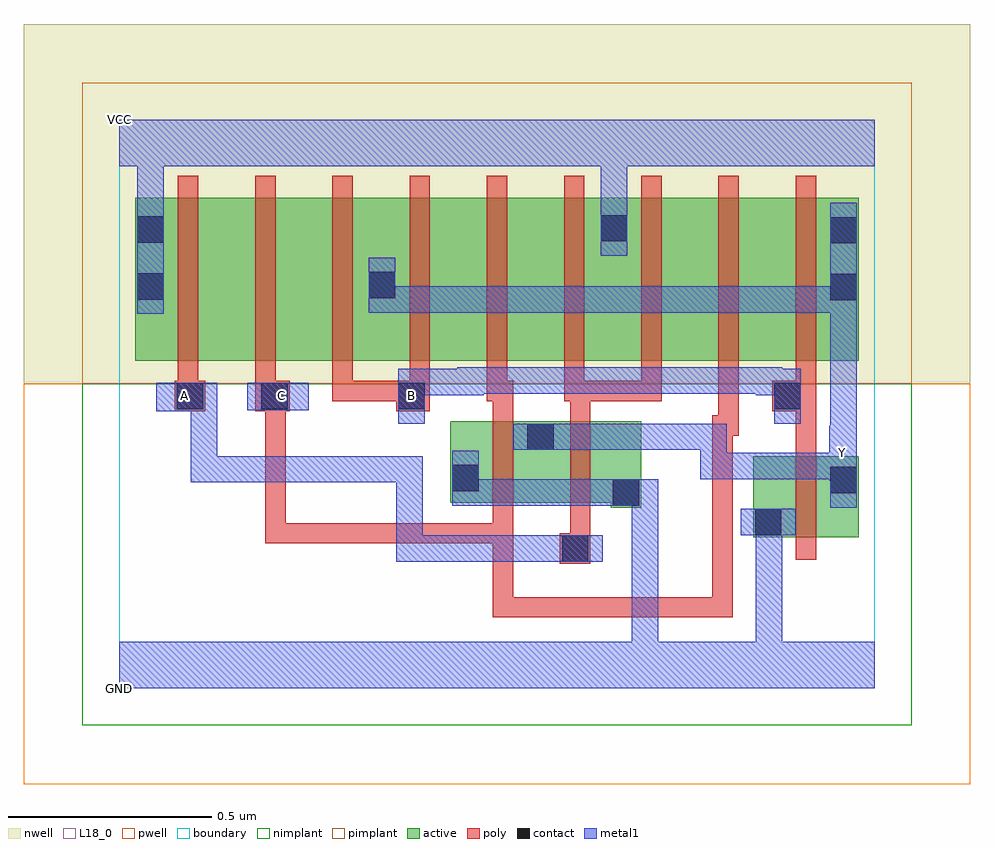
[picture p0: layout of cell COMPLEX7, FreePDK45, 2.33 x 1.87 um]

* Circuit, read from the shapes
.subckt COMPLEX7 A B C GND VCC Y
M1 Y C GND VSUBS nfet w=0.2u l=0.05u
M2 GND A Y VSUBS nfet w=0.2u l=0.05u
M3 Y B GND VSUBS nfet w=0.2u l=0.05u
M4 n1 A VCC n2 pfet w=0.4u l=0.05u
M5 n3 C n1 n2 pfet w=0.4u l=0.05u
M6 Y B n3 n2 pfet w=0.4u l=0.05u
M7 n4 B Y n2 pfet w=0.4u l=0.05u
M8 n5 C n4 n2 pfet w=0.4u l=0.05u
M9 VCC A n5 n2 pfet w=0.4u l=0.05u
M10 n6 A VCC n2 pfet w=0.4u l=0.05u
M11 n7 C n6 n2 pfet w=0.4u l=0.05u
M12 Y B n7 n2 pfet w=0.4u l=0.05u
.ends

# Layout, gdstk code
import gdstk
lib = gdstk.Library(unit=1e-6, precision=1e-09)
def R(c, l, rs):  # rectangles x0, y0, x1, y1
    for r in rs: c.add(gdstk.rectangle(r[:2], r[2:], *l))
def A(c, l, x, y, w, h, nx, ny, dx, dy):  # array of equal rectangles
    R(c, l, [(x+i*dx, y+j*dy, x+i*dx+w, y+j*dy+h) for i in range(nx) for j in range(ny)])
active = (1, 0)
pwell = (2, 0)
nwell = (3, 0)
nimplant = (4, 0)
pimplant = (5, 0)
poly = (9, 0)
contact = (10, 0)
metal1 = (11, 0)
L18_0 = (18, 0)
boundary = (235, 0)

complex7 = lib.new_cell('COMPLEX7')
A(complex7, active, 0.04, 0.807, 0.225, 0.4, 3, 1, 0.57, 0)
A(complex7, active, 0.265, 0.807, 0.19, 0.4, 3, 1, 0.57, 0)
R(complex7, active, [(1.56,0.372,1.635,0.572), (1.56,0.372,1.82,0.572), (1.745,0.372,1.82,0.572), (1.21,0.445,1.285,0.657), (0.815,0.457,0.89,0.657), (0.815,0.457,1.075,0.657), (1,0.457,1.285,0.657), (1,0.495,1.075,0.657), (0.04,0.807,0.115,1.207), (0.455,0.807,0.685,1.207), (0.61,0.807,0.685,1.2), (1.025,0.807,1.255,1.207), (1.595,0.807,1.82,1.207), (1.745,0.807,1.82,1.2), (1.18,0.85,1.255,1.207)])
R(complex7, pwell, [(-0.235,-0.235,2.095,0.75)])
R(complex7, nwell, [(-0.235,0.75,2.095,1.635)])
R(complex7, nimplant, [(-0.09,-0.09,1.95,0.75)])
R(complex7, pimplant, [(-0.09,0.75,1.95,1.49)])
A(complex7, poly, 0.145, 0.707, 0.05, 0.095, 7, 1, 0.19, 0)
A(complex7, poly, 0.145, 0.752, 0.05, 0.51, 9, 1, 0.19, 0)
R(complex7, poly, [(0.92,0.175,0.97,0.225), (0.92,0.175,1,0.225), (0.92,0.175,0.97,0.407), (0.95,0.175,1,0.225), (0.95,0.175,1.202,0.225), (1.152,0.175,1.202,0.225), (1.152,0.175,1.202,0.225), (1.152,0.175,1.202,0.225), (1.152,0.175,1.335,0.225), (1.285,0.175,1.335,0.225), (1.285,0.175,1.51,0.225), (1.46,0.175,1.51,0.225), (1.46,0.175,1.51,0.672), (1.085,0.307,1.16,0.382), (1.665,0.317,1.715,0.627), (1.11,0.332,1.16,0.452), (0.36,0.357,0.41,0.407), (0.36,0.357,0.542,0.407), (0.36,0.357,0.41,0.732), (0.492,0.357,0.542,0.407), (0.492,0.357,0.542,0.407), (0.492,0.357,0.542,0.407), (0.492,0.357,0.735,0.407), (0.685,0.357,0.735,0.407), (0.685,0.357,0.735,0.407), (0.685,0.357,0.735,0.407), (0.685,0.357,0.735,0.407), (0.685,0.357,0.735,0.407), (0.685,0.357,0.867,0.407), (0.817,0.357,0.867,0.407), (0.817,0.357,0.97,0.407), (0.92,0.357,0.97,0.452), (0.92,0.357,0.97,0.407), (0.92,0.402,0.97,0.712), (1.11,0.402,1.16,0.712), (1.665,0.577,1.715,0.732), (1.46,0.622,1.51,0.672), (1.46,0.622,1.51,0.672), (1.46,0.622,1.51,0.672), (1.46,0.622,1.51,0.672), (1.46,0.622,1.51,0.672), (1.46,0.622,1.51,0.672), (1.46,0.622,1.51,0.672), (1.46,0.622,1.51,0.672), (1.46,0.622,1.525,0.672), (1.475,0.622,1.525,0.802), (0.92,0.662,0.97,0.757), (1.11,0.662,1.16,0.757), (0.137,0.682,0.212,0.757), (0.335,0.682,0.42,0.757), (0.36,0.682,0.41,0.732), (0.36,0.682,0.41,0.732), (0.682,0.682,0.765,0.757), (1.607,0.682,1.715,0.757), (0.525,0.707,0.575,0.757), (0.525,0.707,0.722,0.757), (0.672,0.707,0.722,0.757), (0.672,0.707,0.732,0.757), (0.905,0.707,0.97,0.757), (1.095,0.707,1.16,0.757), (1.11,0.707,1.335,0.757), (1.285,0.707,1.335,0.757), (1.285,0.707,1.335,0.757), (1.285,0.707,1.335,0.757), (1.665,0.707,1.715,0.802)])
R(complex7, contact, [(1.09,0.312,1.155,0.377), (1.565,0.377,1.63,0.442), (1.215,0.45,1.28,0.515), (1.75,0.48,1.815,0.545), (0.82,0.485,0.885,0.55), (1.005,0.587,1.07,0.652), (0.142,0.687,0.207,0.752), (0.35,0.687,0.415,0.752), (0.687,0.687,0.752,0.752), (1.612,0.687,1.677,0.752), (1.75,0.955,1.815,1.02), (0.045,0.957,0.11,1.022), (0.615,0.96,0.68,1.025), (1.75,1.095,1.815,1.16), (0.045,1.097,0.11,1.162), (1.185,1.1,1.25,1.165)])
R(complex7, metal1, [(0,0,1.86,0.115), (1.262,0.05,1.327,0.445), (1.567,0.05,1.632,0.115), (1.567,0.05,1.632,0.115), (1.567,0.05,1.632,0.115), (1.567,0.05,1.632,0.115), (1.567,0.05,1.632,0.115), (1.567,0.05,1.632,0.115), (1.567,0.05,1.632,0.442), (0.682,0.312,0.747,0.377), (0.682,0.312,0.747,0.377), (0.682,0.312,0.747,0.377), (0.682,0.312,0.897,0.377), (0.682,0.312,0.747,0.572), (0.832,0.312,0.897,0.377), (0.832,0.312,0.982,0.377), (0.917,0.312,0.982,0.377), (0.917,0.312,1.037,0.377), (0.972,0.312,1.037,0.377), (0.972,0.312,1.12,0.377), (1.055,0.312,1.19,0.377), (1.53,0.377,1.665,0.442), (1.262,0.38,1.327,0.445), (1.262,0.38,1.327,0.445), (1.262,0.38,1.327,0.445), (1.262,0.38,1.327,0.445), (1.262,0.38,1.327,0.445), (1.262,0.38,1.327,0.515), (1.75,0.445,1.815,0.58), (0.82,0.45,0.885,0.585), (0.82,0.45,0.98,0.515), (0.915,0.45,0.98,0.515), (0.915,0.45,1.035,0.515), (0.97,0.45,1.035,0.515), (0.97,0.45,1.12,0.515), (1.055,0.45,1.12,0.515), (1.055,0.45,1.245,0.515), (1.18,0.45,1.327,0.515), (0.177,0.507,0.242,0.572), (0.177,0.507,0.38,0.572), (0.177,0.507,0.242,0.747), (0.315,0.507,0.38,0.572), (0.315,0.507,0.38,0.572), (0.315,0.507,0.38,0.572), (0.315,0.507,0.517,0.572), (0.452,0.507,0.517,0.572), (0.452,0.507,0.747,0.572), (0.682,0.507,0.747,0.572), (0.682,0.507,0.747,0.572), (0.682,0.507,0.747,0.572), (1.747,0.512,1.815,0.647), (1.43,0.515,1.675,0.58), (1.43,0.515,1.495,0.652), (1.61,0.515,1.675,0.58), (1.61,0.515,1.815,0.58), (1.75,0.515,1.815,0.58), (1.75,0.515,1.815,0.58), (1.75,0.515,1.815,0.58), (1.75,0.582,1.815,0.985), (0.97,0.587,1.105,0.652), (1.04,0.587,1.195,0.652), (1.13,0.587,1.195,0.652), (1.13,0.587,1.242,0.652), (1.177,0.587,1.242,0.652), (1.177,0.587,1.357,0.652), (1.292,0.587,1.357,0.652), (1.292,0.587,1.38,0.652), (1.315,0.587,1.38,0.652), (1.315,0.587,1.495,0.652), (0.687,0.652,0.752,0.787), (1.612,0.652,1.677,0.787), (0.092,0.682,0.242,0.752), (0.177,0.682,0.242,0.747), (0.177,0.682,0.242,0.747), (0.315,0.685,0.467,0.752), (0.687,0.722,0.897,0.787), (0.832,0.722,0.897,0.79), (1.567,0.722,1.677,0.787), (1.567,0.722,1.632,0.79), (0.832,0.725,0.982,0.79), (0.917,0.725,0.982,0.79), (0.917,0.725,1.035,0.79), (0.97,0.725,1.035,0.79), (0.97,0.725,1.12,0.79), (1.055,0.725,1.12,0.79), (1.055,0.725,1.242,0.79), (1.177,0.725,1.242,0.79), (1.177,0.725,1.357,0.79), (1.292,0.725,1.357,0.79), (1.292,0.725,1.38,0.79), (1.315,0.725,1.38,0.79), (1.315,0.725,1.495,0.79), (1.43,0.725,1.495,0.79), (1.43,0.725,1.632,0.79), (1.75,0.92,1.815,1.195), (0.045,0.922,0.11,1.197), (0.615,0.925,0.68,0.99), (0.615,0.925,0.68,0.99), (0.615,0.925,0.68,1.06), (0.615,0.925,0.885,0.99), (0.82,0.925,0.885,0.99), (0.82,0.925,0.972,0.99), (0.907,0.925,0.972,0.99), (0.907,0.925,1.035,0.99), (0.97,0.925,1.035,0.99), (0.97,0.925,1.12,0.99), (1.055,0.925,1.12,0.99), (1.055,0.925,1.242,0.99), (1.177,0.925,1.242,0.99), (1.177,0.925,1.332,0.99), (1.267,0.925,1.332,0.99), (1.267,0.925,1.38,0.99), (1.315,0.925,1.38,0.99), (1.315,0.925,1.495,0.99), (1.43,0.925,1.495,0.99), (1.43,0.925,1.627,0.99), (1.562,0.925,1.627,0.99), (1.562,0.925,1.815,0.99), (1.75,0.925,1.815,0.99), (1.75,0.925,1.815,0.99), (1.185,1.065,1.25,1.2), (0.045,1.132,0.11,1.35), (1.185,1.135,1.25,1.35), (0,1.285,1.86,1.4)])
R(complex7, L18_0, [(0,0,1.86,0.115), (1.262,0.05,1.327,0.445), (1.567,0.05,1.632,0.115), (1.567,0.05,1.632,0.115), (1.567,0.05,1.632,0.115), (1.567,0.05,1.632,0.115), (1.567,0.05,1.632,0.115), (1.567,0.05,1.632,0.115), (1.567,0.05,1.632,0.442), (0.682,0.312,0.747,0.377), (0.682,0.312,0.747,0.377), (0.682,0.312,0.747,0.377), (0.682,0.312,0.747,0.572), (0.682,0.312,0.897,0.377), (0.832,0.312,0.897,0.377), (0.832,0.312,0.982,0.377), (0.917,0.312,0.982,0.377), (0.917,0.312,1.037,0.377), (0.972,0.312,1.037,0.377), (0.972,0.312,1.12,0.377), (1.055,0.312,1.19,0.377), (1.53,0.377,1.665,0.442), (1.262,0.38,1.327,0.445), (1.262,0.38,1.327,0.445), (1.262,0.38,1.327,0.445), (1.262,0.38,1.327,0.445), (1.262,0.38,1.327,0.445), (1.262,0.38,1.327,0.515), (1.75,0.445,1.815,0.58), (0.82,0.45,0.885,0.585), (0.82,0.45,0.98,0.515), (0.915,0.45,0.98,0.515), (0.915,0.45,1.035,0.515), (0.97,0.45,1.035,0.515), (0.97,0.45,1.12,0.515), (1.055,0.45,1.12,0.515), (1.055,0.45,1.245,0.515), (1.18,0.45,1.327,0.515), (0.177,0.507,0.242,0.572), (0.177,0.507,0.242,0.747), (0.177,0.507,0.38,0.572), (0.315,0.507,0.38,0.572), (0.315,0.507,0.38,0.572), (0.315,0.507,0.38,0.572), (0.315,0.507,0.517,0.572), (0.452,0.507,0.517,0.572), (0.452,0.507,0.747,0.572), (0.682,0.507,0.747,0.572), (0.682,0.507,0.747,0.572), (0.682,0.507,0.747,0.572), (1.747,0.512,1.815,0.647), (1.43,0.515,1.495,0.652), (1.43,0.515,1.675,0.58), (1.61,0.515,1.675,0.58), (1.61,0.515,1.815,0.58), (1.75,0.515,1.815,0.58), (1.75,0.515,1.815,0.58), (1.75,0.515,1.815,0.58), (1.747,0.547,1.812,0.612), (1.75,0.582,1.815,0.985), (0.97,0.587,1.105,0.652), (1.04,0.587,1.195,0.652), (1.13,0.587,1.195,0.652), (1.13,0.587,1.242,0.652), (1.177,0.587,1.242,0.652), (1.177,0.587,1.357,0.652), (1.292,0.587,1.357,0.652), (1.292,0.587,1.38,0.652), (1.315,0.587,1.38,0.652), (1.315,0.587,1.495,0.652), (0.687,0.652,0.752,0.787), (1.612,0.652,1.677,0.787), (0.092,0.682,0.242,0.752), (0.177,0.682,0.242,0.747), (0.177,0.682,0.242,0.747), (0.315,0.685,0.467,0.752), (0.127,0.687,0.192,0.752), (0.367,0.687,0.432,0.752), (0.687,0.687,0.752,0.752), (0.687,0.722,0.897,0.787), (0.832,0.722,0.897,0.79), (1.567,0.722,1.632,0.79), (1.567,0.722,1.677,0.787), (0.832,0.725,0.982,0.79), (0.917,0.725,0.982,0.79), (0.917,0.725,1.035,0.79), (0.97,0.725,1.035,0.79), (0.97,0.725,1.12,0.79), (1.055,0.725,1.12,0.79), (1.055,0.725,1.242,0.79), (1.177,0.725,1.242,0.79), (1.177,0.725,1.357,0.79), (1.292,0.725,1.357,0.79), (1.292,0.725,1.38,0.79), (1.315,0.725,1.38,0.79), (1.315,0.725,1.495,0.79), (1.43,0.725,1.495,0.79), (1.43,0.725,1.632,0.79), (1.75,0.92,1.815,1.195), (0.045,0.922,0.11,1.197), (0.615,0.925,0.68,0.99), (0.615,0.925,0.68,0.99), (0.615,0.925,0.68,1.06), (0.615,0.925,0.885,0.99), (0.82,0.925,0.885,0.99), (0.82,0.925,0.972,0.99), (0.907,0.925,0.972,0.99), (0.907,0.925,1.035,0.99), (0.97,0.925,1.035,0.99), (0.97,0.925,1.12,0.99), (1.055,0.925,1.12,0.99), (1.055,0.925,1.242,0.99), (1.177,0.925,1.242,0.99), (1.177,0.925,1.332,0.99), (1.267,0.925,1.332,0.99), (1.267,0.925,1.38,0.99), (1.315,0.925,1.38,0.99), (1.315,0.925,1.495,0.99), (1.43,0.925,1.495,0.99), (1.43,0.925,1.627,0.99), (1.562,0.925,1.627,0.99), (1.562,0.925,1.815,0.99), (1.75,0.925,1.815,0.99), (1.75,0.925,1.815,0.99), (1.185,1.065,1.25,1.2), (0.045,1.132,0.11,1.35), (1.185,1.135,1.25,1.35), (0,1.285,1.86,1.4)])
R(complex7, boundary, [(0,0,1.86,1.4)])
complex7.add(gdstk.Label('A', (0.16,0.72), layer=11, texttype=0))
complex7.add(gdstk.Label('B', (0.72,0.72), layer=11, texttype=0))
complex7.add(gdstk.Label('C', (0.4,0.72), layer=11, texttype=0))
complex7.add(gdstk.Label('Y', (1.78,0.58), layer=11, texttype=0))
complex7.add(gdstk.Label('VCC', (0,1.4), layer=11, texttype=0))
complex7.add(gdstk.Label('GND', (0,0), layer=11, texttype=0))

lib.write_gds('COMPLEX7.gds')
